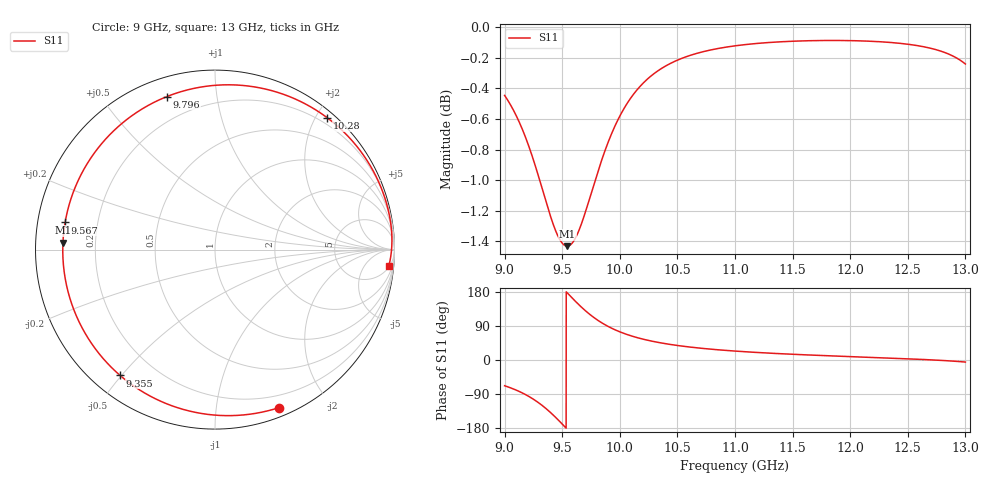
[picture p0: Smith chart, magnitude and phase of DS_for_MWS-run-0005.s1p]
! TOUCHSTONE file generated by CST DESIGN STUDIO
! Date and time: Tue Feb  4 17:59:47 2025
! Project name: C:\Work\MatlabApps\UnitCellOptimizationMatlab\CST\unitcell.cst
! Tree item: Tasks\Sweep1\SPara1\S-Parameters
! Header version: 2024
! Port assignment regex: !\s*Touchstone port\s*([0-9]+)\s*=\s*(CST MWS port|CST DES external port|CST DES block port)\s*(.+)\s* \(\"(.*)\"\)(\s*mode\s*([0-9]+))?.*
! Touchstone port assignment:
! Touchstone port 1 = CST DES external port 1 ("")
# GHz S MA R 50
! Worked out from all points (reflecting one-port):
!   4001 points, 9 GHz to 13 GHz, reference 50 ohm
!   lowest |S11| = -1.4 dB at 9.543 GHz (marker M1), VSWR 12.17, Z = 4.11 + j1.15 ohm
!   phase of S11 starts at -68 deg and turns -298 deg over the sweep
!   S11 on the Smith chart (normalised r, x): 9 GHz: 0.08, -1.48; 9.355 GHz: 0.08, -0.50; 9.567 GHz: 0.08, +0.09; 9.796 GHz: 0.09, +0.73; 10.28 GHz: 0.10, +2.16; 13 GHz: 6, -19
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9  0.95 -67.9
9.036  0.9454 -71.7
9.1  0.9358 -79.4
9.209  0.9146 -95.9
9.286  0.896 -110.9
9.355  0.8782 -127.0
9.395  0.8682 -137.6
9.435  0.8595 -149.1
9.5  0.85 -169.0
9.543  0.8481 177.3
9.567  0.8487 169.7
9.622  0.8543 152.6
9.685  0.8664 134.4
9.739  0.8794 120.5
9.796  0.8936 107.5
9.839  0.904 99.0
9.886  0.9145 90.6
10  0.9353 74.3
10.131  0.9521 60.7
10.281  0.9647 49.5
10.5  0.9755 38.3
10.721  0.9817 30.5
11  0.9861 23.6
11.5  0.9895 15.1
12  0.99 8.9
12.5  0.9873 3.2
12.781  0.9824 -0.9
13  0.9727 -5.4
